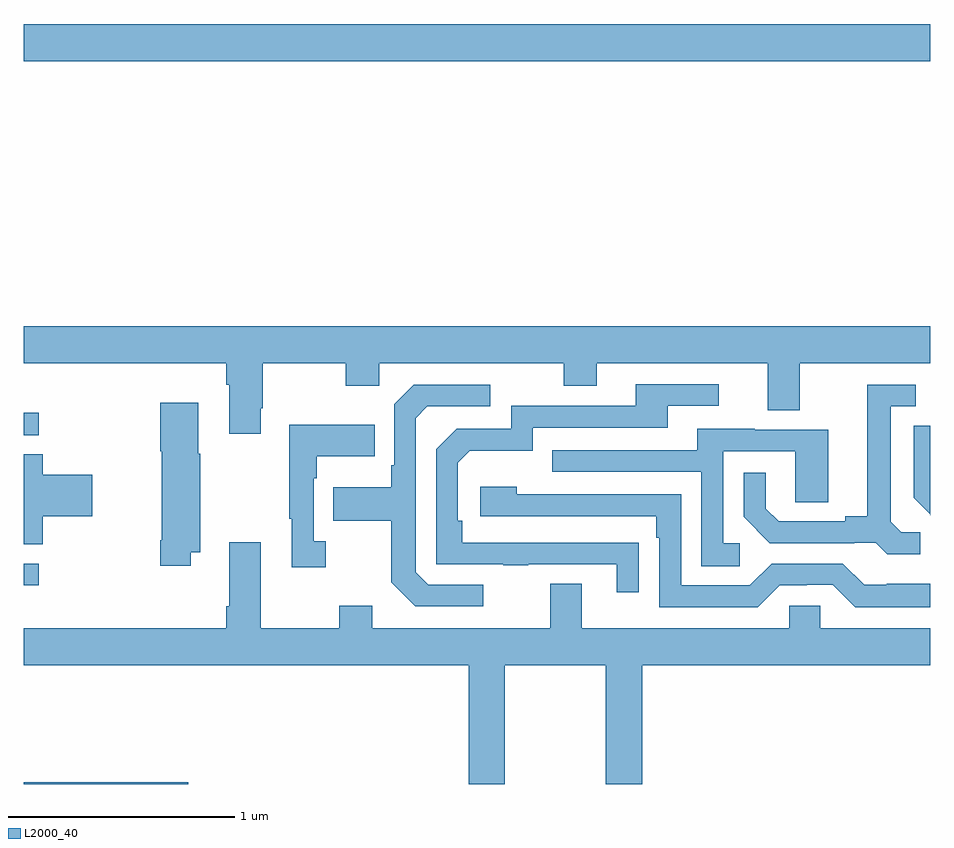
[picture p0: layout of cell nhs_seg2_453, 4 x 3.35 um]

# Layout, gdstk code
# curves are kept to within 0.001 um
import gdstk
lib = gdstk.Library(unit=1e-6, precision=1e-09)
def R(c, l, rs):  # rectangles x0, y0, x1, y1
    for r in rs: c.add(gdstk.rectangle(r[:2], r[2:], *l))
def P(c, l, *ps):  # polygons
    for p in ps: c.add(gdstk.Polygon(p, *l))
L2000_40 = (2000, 40)

nhs_seg2_453 = lib.new_cell('nhs_seg2_453')
R(nhs_seg2_453, L2000_40, [(133,625.8,133.726,625.808), (133,626.676,133.066,626.772), (133,627.339,133.066,627.438), (133,628.988,137,629.152)])
P(nhs_seg2_453, L2000_40, [(134.047,627.457),(134.055,627.457),(134.055,627.656),(134.422,627.656),(134.422,627.557),(134.568,627.557),(134.568,627.656),(135.382,627.656),(135.382,627.557),(135.529,627.557),(135.529,627.656),(136.283,627.656),(136.283,627.448),(136.423,627.448),(136.423,627.656),(137,627.656),(137,627.82),(133,627.82),(133,627.656),(133.895,627.656),(133.895,627.56),(133.907,627.56),(133.907,627.345),(134.047,627.345)],
  [(135.713,626.864),(134.936,626.865),(134.936,626.962),(134.916,626.962),(134.916,627.216),(134.969,627.269),(135.246,627.269),(135.246,627.372),(135.841,627.372),(135.841,627.468),(136.066,627.468),(136.066,627.564),(135.701,627.564),(135.701,627.468),(135.15,627.468),(135.15,627.366),(134.91,627.366),(134.82,627.276),(134.82,626.769),(135.115,626.769),(135.115,626.764),(135.227,626.764),(135.227,626.769),(135.617,626.769),(135.617,626.646),(135.713,626.646)],
  [(135.028,626.679),(134.784,626.679),(134.73,626.733),(134.73,627.414),(134.781,627.465),(135.058,627.465),(135.058,627.561),(134.721,627.561),(134.634,627.474),(134.634,627.205),(134.622,627.205),(134.622,627.109),(134.365,627.109),(134.365,626.962),(134.622,626.962),(134.622,626.689),(134.727,626.583),(135.028,626.583)],
  [(136.954,626.91),(136.872,626.91),(136.825,626.957),(136.825,627.465),(136.936,627.465),(136.936,627.561),(136.721,627.561),(136.721,626.981),(136.625,626.981),(136.625,626.958),(136.33,626.958),(136.273,627.015),(136.273,627.172),(136.176,627.172),(136.176,626.978),(136.292,626.862),(136.664,626.862),(136.664,626.865),(136.758,626.865),(136.81,626.813),(136.954,626.813)],
  [(133.738,626.822),(133.779,626.822),(133.779,627.257),(133.771,627.257),(133.771,627.481),(133.604,627.481),(133.604,627.268),(133.609,627.268),(133.609,626.875),(133.604,626.875),(133.604,626.763),(133.738,626.763)],
  [(134.332,626.87),(134.28,626.87),(134.28,627.149),(134.293,627.149),(134.293,627.245),(134.549,627.245),(134.549,627.385),(134.172,627.385),(134.172,626.969),(134.183,626.969),(134.183,626.757),(134.332,626.757)],
  [(137,627.38),(136.926,627.38),(136.926,627.062),(136.999,626.989),(136.998,626.988),(137,626.986)],
  [(136.159,626.862),(136.086,626.862),(136.086,627.267),(136.404,627.267),(136.404,627.043),(136.549,627.043),(136.549,627.363),(136.225,627.363),(136.225,627.367),(135.971,627.367),(135.971,627.273),(135.331,627.273),(135.331,627.177),(135.99,627.177),(135.99,626.761),(136.159,626.761)],
  [(133.085,626.981),(133.303,626.981),(133.303,627.164),(133.085,627.164),(133.085,627.254),(133,627.254),(133,626.857),(133.085,626.857)],
  [(137,626.683),(136.807,626.683),(136.807,626.679),(136.707,626.679),(136.614,626.772),(136.299,626.772),(136.203,626.676),(135.9,626.676),(135.9,627.078),(135.176,627.078),(135.176,627.112),(135.015,627.112),(135.015,626.982),(135.791,626.982),(135.791,626.885),(135.804,626.885),(135.804,626.58),(136.239,626.58),(136.335,626.676),(136.454,626.676),(136.454,626.679),(136.569,626.679),(136.669,626.579),(137,626.579)],
  [(135.123,626.324),(135.568,626.324),(135.568,625.8),(135.728,625.8),(135.728,626.324),(137,626.324),(137,626.488),(136.515,626.488),(136.515,626.586),(136.377,626.586),(136.377,626.488),(135.463,626.488),(135.463,626.683),(135.323,626.683),(135.323,626.488),(134.539,626.488),(134.539,626.587),(134.392,626.587),(134.392,626.488),(134.047,626.488),(134.047,626.866),(133.907,626.866),(133.907,626.584),(133.895,626.584),(133.895,626.488),(133,626.488),(133,626.324),(134.963,626.324),(134.963,625.8),(135.123,625.8)])

lib.write_gds('nhs_seg2_453.gds')
